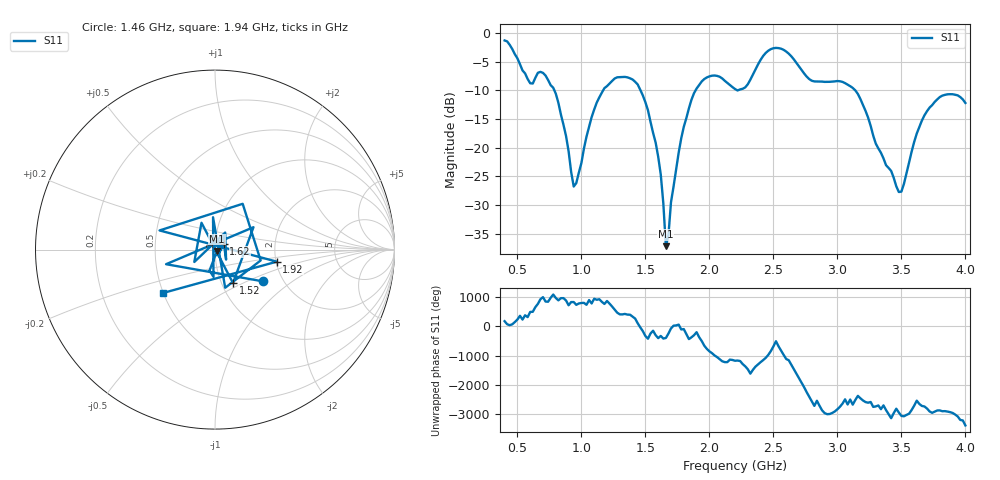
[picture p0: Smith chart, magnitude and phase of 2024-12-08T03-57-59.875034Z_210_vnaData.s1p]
!Created with skrf (http://scikit-rf.org).
# Hz S RI R 50.0
!freq ReS11 ImS11
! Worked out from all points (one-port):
!   181 points, 400 MHz to 4 GHz, reference 50 ohm
!   lowest |S11| = -37.2 dB at 1.66 GHz (marker M1), VSWR 1.03, Z = 51.1 - j0.856 ohm
!   |S11| at or under -10 dB: 788.2 MHz to 1.171 GHz (382.4 MHz wide, 39 % of centre); 1.461 GHz to 1.893 GHz (431.5 MHz wide, 25.7 % of centre); 3.139 GHz to end of sweep (the widest 3 of 4)
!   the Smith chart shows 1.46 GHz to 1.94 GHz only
!   S11 on the Smith chart (normalised r, x): 1.46 GHz: 1.57, -0.62; 1.52 GHz: 1.13, -0.44; 1.62 GHz: 1.10, +0.07; 1.92 GHz: 2.02, -0.31; 1.94 GHz: 0.50, -0.28
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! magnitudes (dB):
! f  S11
! 400 MHz  -1.3
! 600 MHz  -8.8
! 720 MHz  -7.5
! 800 MHz  -10.6
! 860 MHz  -16.0
! 940 MHz  -26.8
! 1.12 GHz  -12.1
! 1.3 GHz  -7.7
! 1.46 GHz  -9.9
! 1.52 GHz  -13.5
! 1.62 GHz  -24.7
! 1.66 GHz  -37.2
! 1.76 GHz  -20.9
! 1.86 GHz  -11.7
! 1.92 GHz  -9.1
! 1.94 GHz  -8.5
! 2.2 GHz  -9.8
! 2.28 GHz  -9.5
! 2.48 GHz  -2.8
! 2.66 GHz  -4.6
! 2.8 GHz  -8.3
! 3.1 GHz  -9.3
! 3.18 GHz  -11.5
! 3.48 GHz  -27.7
! 3.56 GHz  -22.6
! 3.66 GHz  -15.3
! 3.76 GHz  -12.0
! 4 GHz  -12.2
